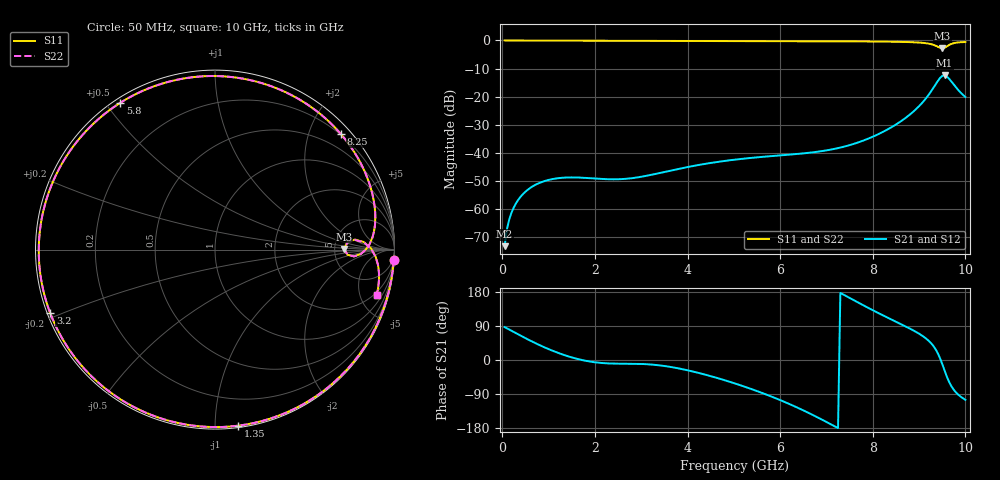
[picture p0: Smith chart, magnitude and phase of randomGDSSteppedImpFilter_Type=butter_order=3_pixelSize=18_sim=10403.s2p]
! freq	dB(S11)	phase(S11)	dB(S12)	phase(S12)
!  dB(S21)	phase(S21)	dB(S22)	phase(S22)
!S-par simulation data
#  GHz  S  DB  R 50
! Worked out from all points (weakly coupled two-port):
!   200 points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, 50 MHz to 10 GHz, reference 50 ohm
!   highest |S21| = -12.44 dB at 9.55 GHz (marker M1); lowest = -73.3 dB at 50 MHz (marker M2)
!   lowest |S11| = -2.9 dB at 9.5 GHz (marker M3), VSWR 6.13, Z = 306 + j3.55 ohm
!   |S11| at or under -10 dB: nowhere
!   |S22| runs from -2.8 to 0.0 dB; largest |S21 - S12| = 0
!   S11 on the Smith chart (normalised r, x): 50 MHz: 1, -36; 1.35 GHz: 0.01, -1.14; 3.2 GHz: 0.01, -0.19; 5.8 GHz: 0.02, +0.55; 8.25 GHz: 0.19, +2.56; 10 GHz: 1.67, -6.87
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0.05  -0.02 -3.2  -73.25 86.8  -73.25 86.8  -0.01 -3.2
0.15  -0.03 -9.9  -63.73 80.3  -63.73 80.3  -0.03 -9.9
0.4  -0.04 -26.4  -55.56 63.9  -55.56 63.9  -0.04 -26.4
0.9  -0.07 -57.5  -50.13 34.0  -50.13 34.0  -0.07 -57.5
1.35  -0.09 -82.5  -48.85 12.5  -48.85 12.5  -0.09 -82.6
1.75  -0.11 -102.3  -48.90 -0.8  -48.90 -0.8  -0.11 -102.3
2.45  -0.12 -132.0  -49.45 -9.6  -49.45 -9.6  -0.12 -132.1
3.2  -0.14 -158.9  -47.91 -11.8  -47.91 -11.8  -0.14 -158.9
3.4  -0.15 -165.5  -47.20 -14.2  -47.20 -14.2  -0.15 -165.5
4.2  -0.17 169.8  -44.46 -32.9  -44.46 -32.9  -0.17 169.8
5.05  -0.20 144.8  -42.39 -62.9  -42.39 -62.9  -0.20 144.8
5.8  -0.24 122.8  -41.20 -95.9  -41.20 -95.9  -0.24 122.7
6.7  -0.28 95.2  -39.86 -144.8  -39.86 -144.8  -0.28 95.2
7.5  -0.34 69.0  -37.29 163.7  -37.29 163.7  -0.34 68.9
8.25  -0.43 42.5  -32.31 116.0  -32.31 116.0  -0.43 42.4
8.35  -0.45 38.8  -31.42 110.0  -31.42 110.0  -0.45 38.7
9.05  -0.82 11.0  -22.53 65.5  -22.53 65.5  -0.82 10.9
9.35  -1.83 -1.8  -15.84 29.6  -15.84 29.6  -1.82 -1.8
9.5  -2.86 0.2  -12.64 -10.6  -12.64 -10.6  -2.84 0.1
9.55  -2.66 3.1  -12.44 -27.8  -12.44 -27.8  -2.64 3.0
9.75  -0.96 -2.4  -15.77 -78.7  -15.77 -78.7  -0.96 -2.6
10  -0.57 -15.7  -20.14 -105.0  -20.14 -105.0  -0.57 -15.8
